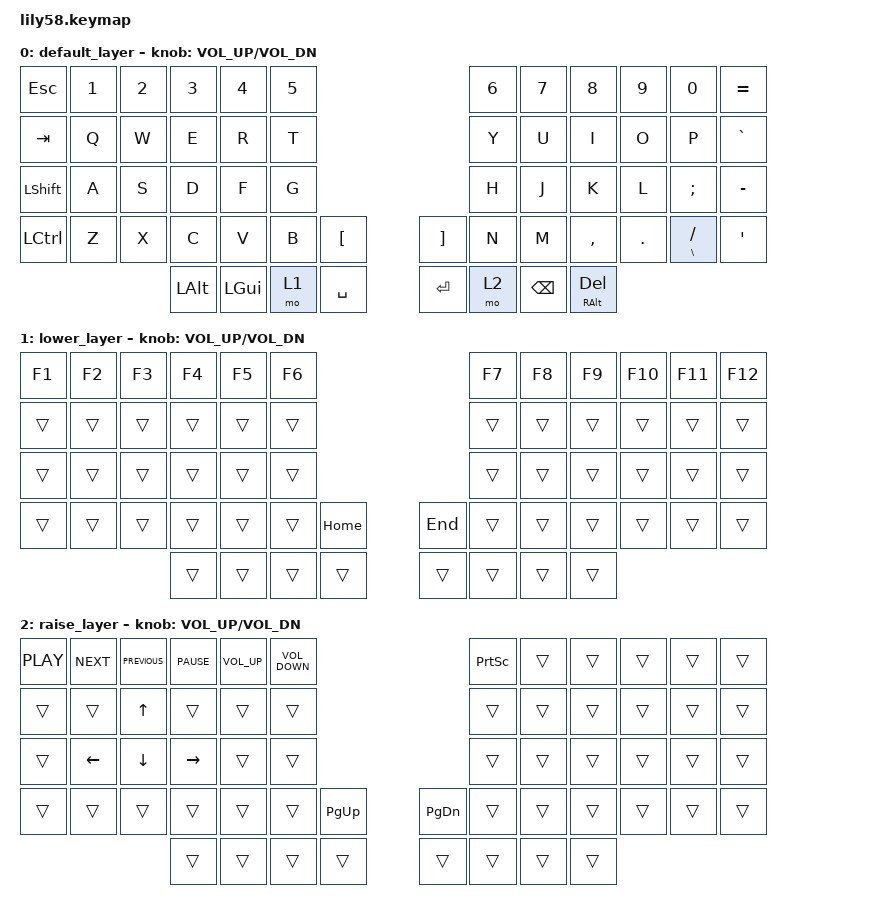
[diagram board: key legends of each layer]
/*
 * Copyright (c) 2020 The ZMK Contributors
 *
 * SPDX-License-Identifier: MIT
 */

#include <behaviors.dtsi>
#include <dt-bindings/zmk/keys.h>

/ {
    keymap {
        compatible = "zmk,keymap";

        default_layer {
            // ------------------------------------------------------------------------------------------------------------
            // |  ESC  |  1  |  2  |  3   |  4   |  5   |                   |  6   |  7    |  8    |  9   |   0   |   `   |
            // |  TAB  |  Q  |  W  |  E   |  R   |  T   |                   |  Y   |  U    |  I    |  O   |   P   |   -   |
            // |  CTRL |  A  |  S  |  D   |  F   |  G   |                   |  H   |  J    |  K    |  L   |   ;   |   '   |
            // | SHIFT |  Z  |  X  |  C   |  V   |  B   |   "["  |  |  "]"  |  N   |  M    |  ,    |  .   |   /   | SHIFT |
            //                     | ALT  | GUI  | LOWER|  SPACE |  | ENTER | RAISE| BSPC  | GUI   |

            bindings = <
&kp ESC         &kp N1  &kp N2  &kp N3    &kp N4    &kp N5                                &kp N6  &kp N7    &kp N8                &kp N9   &kp N0               &kp EQUAL
&kp TAB         &kp Q   &kp W   &kp E     &kp R     &kp T                                 &kp Y   &kp U     &kp I                 &kp O    &kp P                &kp GRAVE
&kp LEFT_SHIFT  &kp A   &kp S   &kp D     &kp F     &kp G                                 &kp H   &kp J     &kp K                 &kp L    &kp SEMICOLON        &kp MINUS
&kp LCTRL       &kp Z   &kp X   &kp C     &kp V     &kp B   &kp LEFT_BRACKET    &kp RBKT  &kp N   &kp M     &kp COMMA             &kp DOT  &mt BACKSLASH SLASH  &kp APOS
                                &kp LALT  &kp LGUI  &mo 1   &kp SPACE           &kp RET   &mo 2   &kp BSPC  &mt RIGHT_ALT DELETE
            >;

            sensor-bindings = <&inc_dec_kp C_VOL_UP C_VOL_DN>;
        };

        lower_layer {
            // ------------------------------------------------------------------------------------------------------------
            // | BTCLR | BT1 | BT2 |  BT3 |  BT4 |  BT5 |                   |      |       |       |      |       |       |
            // |  F1   |  F2 |  F3 |  F4  |  F5  |  F6  |                   |  F7  |  F8   |  F9   |  F10 |  F11  |  F12  |
            // |   `   |  !  |  @  |  #   |  $   |  %   |                   |  ^   |  &    |  *    |  (   |   )   |   ~   |
            // |       |     |     |      |      |      |        |  |       |      |  _    |  +    |  {   |   }   |  "|"  |
            //                     |      |      |      |        |  |       |      |       |       |

            bindings = <
&kp F1  &kp F2  &kp F3  &kp F4  &kp F5  &kp F6                       &kp F7  &kp F8  &kp F9  &kp F10  &kp F11  &kp F12
&trans  &trans  &trans  &trans  &trans  &trans                       &trans  &trans  &trans  &trans   &trans   &trans
&trans  &trans  &trans  &trans  &trans  &trans                       &trans  &trans  &trans  &trans   &trans   &trans
&trans  &trans  &trans  &trans  &trans  &trans  &kp HOME    &kp END  &trans  &trans  &trans  &trans   &trans   &trans
                        &trans  &trans  &trans  &trans      &trans   &trans  &trans  &trans
            >;

            sensor-bindings = <&inc_dec_kp C_VOL_UP C_VOL_DN>;
        };

        raise_layer {
            // ------------------------------------------------------------------------------------------------------------
            // |       |     |     |      |      |      |                   |      |       |       |      |       |       |
            // |   `   |  1  |  2  |  3   |  4   |  5   |                   |  6   |   7   |   8   |  9   |   0   |       |
            // |   F1  |  F2 |  F3 |  F4  |  F5  |  F6  |                   |      |   <-  |   v   |  ^   |  ->   |       |
            // |   F7  |  F8 |  F9 |  F10 |  F11 |  F12 |        |  |       |  +   |   -   |   =   |  [   |   ]   |   \   |
            //                     |      |      |      |        |  |       |      |       |       |

            bindings = <
&kp C_PLAY  &kp C_NEXT  &kp C_PREVIOUS  &kp C_PAUSE  &kp C_VOLUME_UP  &kp C_VOLUME_DOWN                          &kp PRINTSCREEN  &trans  &trans  &trans  &trans  &trans
&trans      &trans      &kp UP          &trans       &trans           &trans                                     &trans           &trans  &trans  &trans  &trans  &trans
&trans      &kp LEFT    &kp DOWN_ARROW  &kp RIGHT    &trans           &trans                                     &trans           &trans  &trans  &trans  &trans  &trans
&trans      &trans      &trans          &trans       &trans           &trans             &kp PG_UP    &kp PG_DN  &trans           &trans  &trans  &trans  &trans  &trans
                                        &trans       &trans           &trans             &trans       &trans     &trans           &trans  &trans
            >;

            sensor-bindings = <&inc_dec_kp C_VOL_UP C_VOL_DN>;
        };
    };
};
